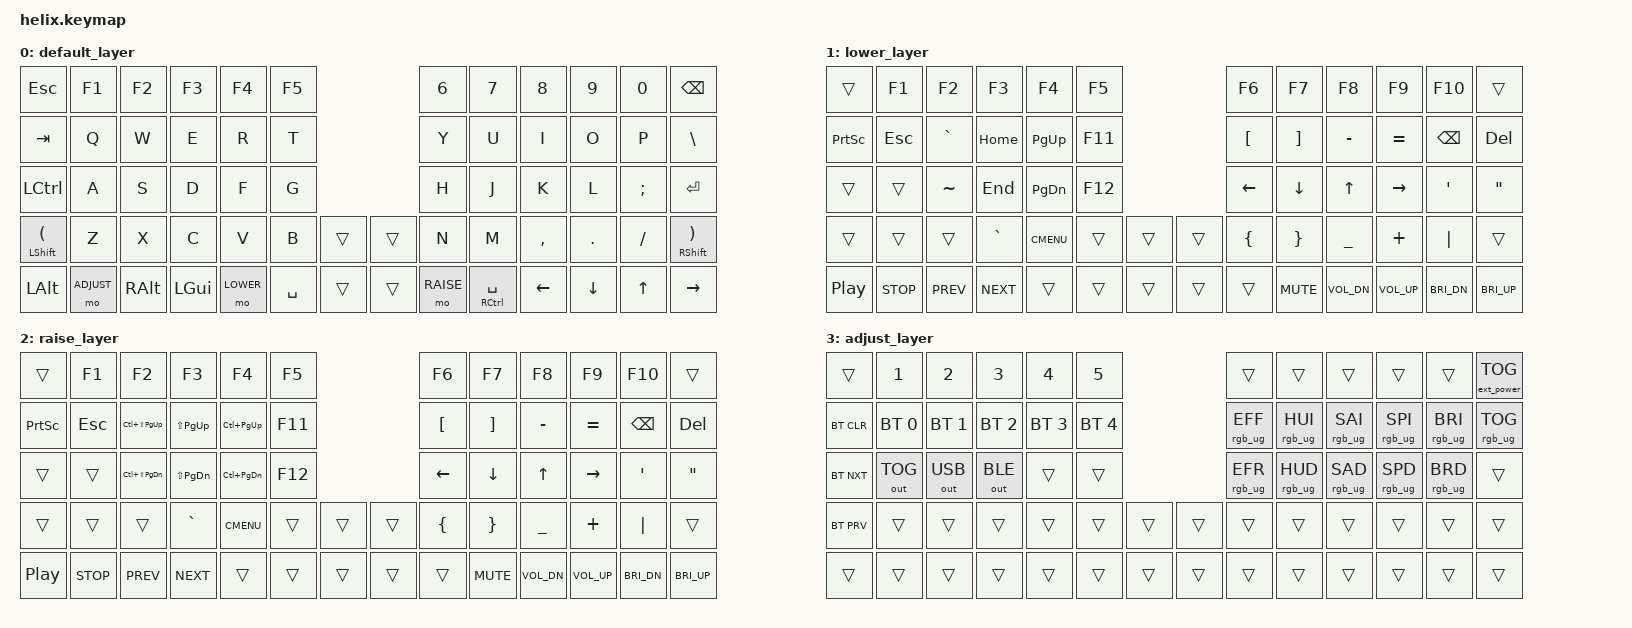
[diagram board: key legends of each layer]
/*
 * Copyright (c) 2020 The ZMK Contributors
 *
 * SPDX-License-Identifier: MIT
 */

 #include <behaviors.dtsi>
 #include <dt-bindings/zmk/keys.h>
 #include <dt-bindings/zmk/bt.h>
 #include <dt-bindings/zmk/rgb.h>
 #include <dt-bindings/zmk/ext_power.h>
 #include <dt-bindings/zmk/outputs.h>

 #define DEFAULT 0
 #define LOWER  1
 #define RAISE  2
 #define ADJUST 3

/* NOTE: At the time of the creation of this keymap, there are no specified codes for 'eisuu' and 'kana' input in ZMK.
However, 'LANG1' and 'LANG2' are fully-functioning candidates for 'kana' and 'eisuu' input respectively.
As such, those are in use within the default layer at this time.*/

/ {
       keymap {
              compatible = "zmk,keymap";
 
              default_layer {
 // ---------------------------------------------------------------------------------------------------------------------------------
 // |  ESC   |   1    |   2    |   3    |   4    |   5    |                                      |   6    |   7    |   8    |   9    |   0    |  BSPC  |
 // |  TAB   |   Q    |   W    |   E    |   R    |   T    |                                      |   Y    |   U    |   I    |   O    |   P    |   \    |
 // |  CTRL  |   A    |   S    |   D    |   F    |   G    |                                      |   H    |   J    |   K    |   L    |   ;    |  RET   |
 // |  SHIFT(|   Z    |   X    |   C    |   V    |   B    |        |                    |        |   N    |   M    |   ,    |   .    |   /    |  SHIFT)|
 // |  LALT  | ADJUST |  RALT  |  LGUI  | LOWER  | SPACE  |        |                    |        | RAISE  | SpCtrl |  LEFT  |  DOWN  |  UP    |  RIGHT |
                     bindings = <
       //&kp ESC    &kp N1  &kp N2   &kp N3   &kp N4    &kp N5                               &kp N6    &kp N7    &kp N8    &kp N9     &kp N0    &kp BSPC
       &kp ESC    &kp F1  &kp F2   &kp F3   &kp F4    &kp F5                               &kp N6    &kp N7    &kp N8    &kp N9     &kp N0    &kp BSPC
       &kp TAB    &kp Q   &kp W    &kp E    &kp R     &kp T                                &kp Y     &kp U     &kp I     &kp O      &kp P     &kp BSLH
       &kp LCTRL  &kp A   &kp S    &kp D    &kp F     &kp G                                &kp H     &kp J     &kp K     &kp L      &kp SEMI  &kp RET
       &mt LSHFT LPAR &kp Z   &kp X    &kp C    &kp V     &kp B     &trans         &trans  &kp N     &kp M     &kp COMMA &kp PERIOD &kp SLASH &mt RSHFT RPAR
       &kp LALT   &mo ADJUST &kp RALT &kp LGUI &mo LOWER &kp SPACE &trans        &trans &mo RAISE &mt RCTRL SPACE &kp LEFT  &kp DOWN   &kp UP    &kp RIGHT
                     >;
              };
              lower_layer {
 // ---------------------------------------------------------------------------------------------------------------------------------
 // |      |  F1  |  F2  |  F3  |  F4  |  F5  |                                  |  F6  |  F7  |  F8  |  F9  |  F10 |      |
 // |PrtScr| ESC  |  `   | HOME | PgUp |  F11 |                                  |  [   |  ]   |  -   |  =   | BKSP | DEL  |
 // |      |      |  ~   | END  | PgDn |  F12 |                                  | LEFT | DOWN |  UP  |RIGHT |  '   |  "   |
 // |      |      |      |  `   | Menu |      |      |                    |      |  {   |  }   |  _   |  +   |  |   |      |
 // | Play | Stop | Prev | Next |      |      |      |                    |      |      | Mute | Vol- | Vol+ | Bri- | Bri+ |
                     bindings = <
       &trans    &kp F1   &kp F2     &kp F3    &kp F4      &kp F5                     &kp F6    &kp F7     &kp F8       &kp F9       &kp F10   &trans
       &kp PSCRN &kp ESC  &kp GRAVE  &kp HOME  &kp PG_UP   &kp F11                    &kp LBKT  &kp RBKT   &kp MINUS    &kp EQUAL    &kp BSPC  &kp DEL
       &trans    &trans   &kp TILDE &kp END   &kp PG_DN   &kp F12                    &kp LEFT  &kp DOWN   &kp UP       &kp RIGHT    &kp SQT   &kp DQT
       &trans    &trans   &trans     &kp GRAVE &kp K_CMENU &trans &trans       &trans &kp LBRC  &kp RBRC   &kp UNDER    &kp PLUS     &kp PIPE  &trans
       &kp C_PP  &kp C_STOP &kp C_PREV &kp C_NEXT &trans   &trans &trans       &trans &trans    &kp C_MUTE &kp C_VOL_DN &kp C_VOL_UP &kp C_BRI_DN &kp C_BRI_UP
                     >;
              };
              raise_layer {
 // ---------------------------------------------------------------------------------------------------------------------------------
 // |      |  F1  |  F2  |  F3  |  F4  |  F5  |                                  |  F6  |  F7  |  F8  |  F9  |  F10 |      |
 // |PrtScr| ESC  |CSPgUp|SPgUp |CPgUp |  F11 |                                  |  [   |  ]   |  -   |  =   | BKSP | DEL  |
 // |      |      |CSPgDn|SPgDn |CPgDn |  F12 |                                  | LEFT | DOWN |  UP  |RIGHT |  '   |  "   |
 // |      |      |      |  `   | Menu |      |      |                    |      |  {   |  }   |  _   |  +   |  |   |      |
 // | Play | Stop | Prev | Next |      |      |      |                    |      |      | Mute | Vol- | Vol+ | Bri- | Bri+ |
                     bindings = <
       &trans    &kp F1   &kp F2     &kp F3    &kp F4      &kp F5                     &kp F6    &kp F7     &kp F8       &kp F9       &kp F10   &trans
       &kp PSCRN &kp ESC  &kp LC(LS(PG_UP)) &kp LS(PG_UP) &kp LC(PG_UP)   &kp F11     &kp LBKT  &kp RBKT   &kp MINUS    &kp EQUAL    &kp BSPC  &kp DEL
       &trans    &trans   &kp LC(LS(PG_DN)) &kp LS(PG_DN) &kp LC(PG_DN)   &kp F12     &kp LEFT  &kp DOWN   &kp UP       &kp RIGHT    &kp SQT   &kp DQT
       &trans    &trans   &trans     &kp GRAVE &kp K_CMENU &trans &trans       &trans &kp LBRC  &kp RBRC   &kp UNDER    &kp PLUS     &kp PIPE  &trans
       &kp C_PP  &kp C_STOP &kp C_PREV &kp C_NEXT &trans   &trans &trans       &trans &trans    &kp C_MUTE &kp C_VOL_DN &kp C_VOL_UP &kp C_BRI_DN &kp C_BRI_UP
                     >;
              };
              adjust_layer {
 // ---------------------------------------------------------------------------------------------------------------------------------
 // |          |          |          |          |          |          |                                          |          |          |          |          |          |  EP TOG  |
 // |  BT CLR  | BT SEL0  | BT SEL1  | BT SEL2  | BGT SEL3 | BT SEL4  |                                          | RGB EFF+ | RGB HUE+ | RGB SAT+ | RGB SPD+ | RGB BRI+ | RGB TOG  |
 // |  BT NXT  | OUT TOG  | OUT USB  | OUT BLE  |          |          |                                          | RGB EFF- | RGB HUE- | RGB SAT- | RGB SPD- | RGB BRI- |          |
 // |  BT PRV  |          |          |          |          |          |          |                    |          |          |          |          |          |          |          |
 // |          |          |          |          |          |          |          |                    |          |          |          |          |          |          |          |
                     bindings = <
       &trans     &kp N1       &kp N2       &kp N3       &kp N4       &kp N5                                &trans          &trans          &trans          &trans          &trans          &ext_power EP_TOG
       &bt BT_CLR &bt BT_SEL 0 &bt BT_SEL 1 &bt BT_SEL 2 &bt BT_SEL 3 &bt BT_SEL 4                          &rgb_ug RGB_EFF &rgb_ug RGB_HUI &rgb_ug RGB_SAI &rgb_ug RGB_SPI &rgb_ug RGB_BRI &rgb_ug RGB_TOG 
       &bt BT_NXT &out OUT_TOG &out OUT_USB &out OUT_BLE &trans       &trans                                &rgb_ug RGB_EFR &rgb_ug RGB_HUD &rgb_ug RGB_SAD &rgb_ug RGB_SPD &rgb_ug RGB_BRD &trans
       &bt BT_PRV &trans       &trans       &trans       &trans       &trans       &trans        &trans &trans          &trans          &trans          &trans          &trans          &trans
       &trans     &trans       &trans       &trans       &trans       &trans       &trans          &trans   &trans          &trans          &trans          &trans          &trans          &trans
                     >;
              };
       };
};
